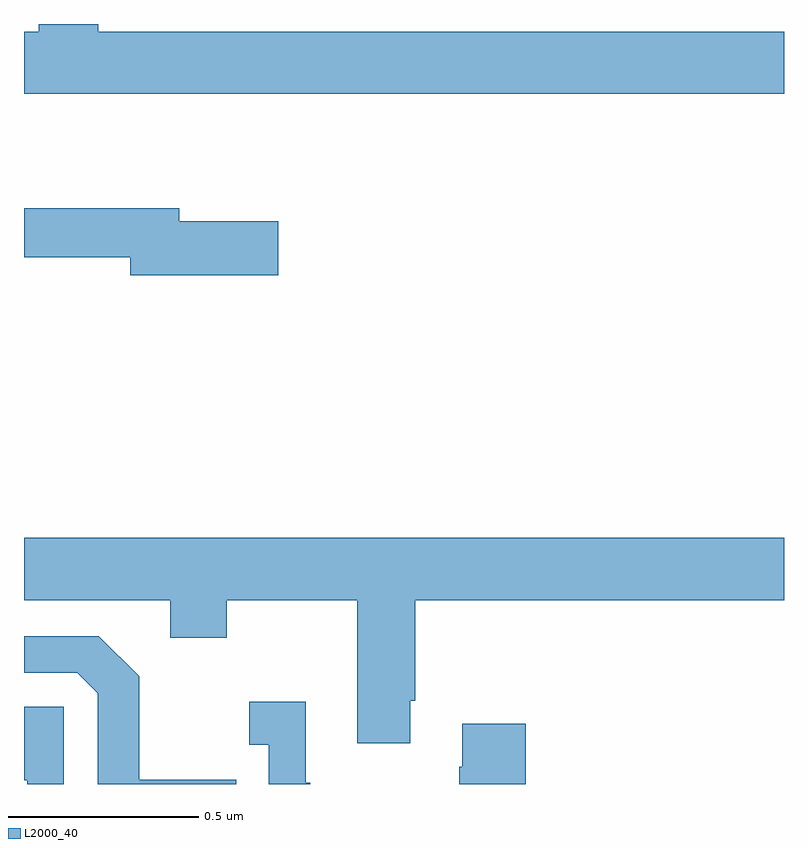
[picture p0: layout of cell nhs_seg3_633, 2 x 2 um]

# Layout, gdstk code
import gdstk
lib = gdstk.Library(unit=1e-6, precision=1e-09)
def P(c, l, *ps):  # polygons
    for p in ps: c.add(gdstk.Polygon(p, *l))
L2000_40 = (2000, 40)

nhs_seg3_633 = lib.new_cell('nhs_seg3_633')
P(nhs_seg3_633, L2000_40, [(120,734.38),(118.196,734.38),(118.196,734.4),(118.039,734.4),(118.039,734.38),(118,734.38),(118,734.216),(120,734.216)],
  [(118.669,733.881),(118.408,733.881),(118.408,733.915),(118,733.915),(118,733.786),(118.28,733.786),(118.28,733.739),(118.669,733.739)],
  [(119.017,732.619),(119.03,732.619),(119.03,732.884),(120,732.884),(120,733.048),(118,733.048),(118,732.884),(118.385,732.884),(118.385,732.785),(118.533,732.785),(118.533,732.884),(118.877,732.884),(118.877,732.507),(119.017,732.507)],
  [(118.559,732.411),(118.303,732.411),(118.303,732.683),(118.197,732.789),(118,732.789),(118,732.693),(118.14,732.693),(118.194,732.639),(118.194,732.4),(118.559,732.4)],
  [(118.753,732.403),(118.741,732.403),(118.741,732.616),(118.593,732.616),(118.593,732.503),(118.644,732.503),(118.644,732.4),(118.753,732.4)],
  [(118.104,732.603),(118,732.603),(118,732.41),(118.008,732.41),(118.008,732.4),(118.104,732.4)],
  [(119.321,732.559),(119.153,732.559),(119.153,732.446),(119.146,732.446),(119.146,732.4),(119.321,732.4)])

lib.write_gds('nhs_seg3_633.gds')
